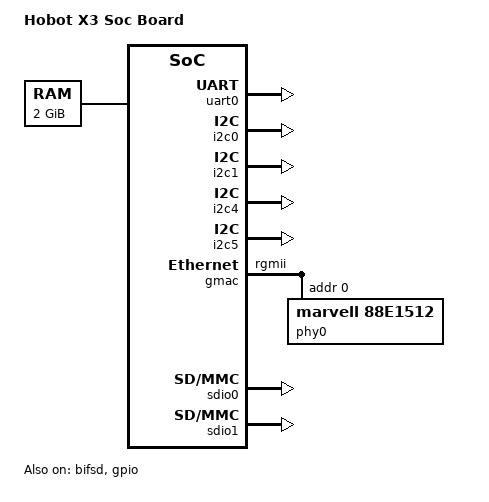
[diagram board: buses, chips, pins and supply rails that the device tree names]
/*
 * dts file for Hobot X3 soc
 *
 * (C) Copyright 2017 - 2018, Hobot, Inc.
 *
 * SPDX-License-Identifier:	GPL-2.0+
 */

/dts-v1/;

#include "hobot-x3.dtsi"

/ {
	model = "Hobot X3 Soc Board";
	compatible = "hobot,x3";

	aliases {
		serial0 = &uart0;
		spi0	= &qspi;
		gmac0 	= &gmac;
		bif	= &bifsd;
		mmc0    = &sdio0;
		mmc1   	= &sdio1;
		mmc2   	= &sdio2;
		i2c0	= &i2c0;
		i2c1	= &i2c1;
		i2c2	= &i2c2;
		i2c3	= &i2c3;
		i2c4	= &i2c4;
		i2c5	= &i2c5;
	};

	chosen {
		bootargs = "";
//		stdout-path = "serial0:921600n8";
	};

	memory@0 {
		device_type = "memory";
		reg = <0x0 0x0 0x0 0x80000000>;
	};

	gpio: gpio@a6003000 {
		compatible = "hobot,x2-gpio-1.0";
		status = "okay";
		#gpio-cells = <0x2>;
		reg = <0x0 0xa6003000 0x0 0x100>;
	};

};

&uart0 {
	status = "okay";
};

&i2c0 {
	status = "okay";
};

&i2c1 {
	status = "okay";
};

&i2c4 {
	status = "okay";
};

&i2c5 {
	status = "okay";
};

&qspi {
	status = "disabled";
	spi-max-frequency = <500000000>;
	#address-cells = <1>;
	#size-cells = <0>;

	flash0: gd25q256c@0 {
		u-boot,dm-pre-reloc;
		compatible = "spi-flash";
		reg = <0x0>;
		spi-tx-bus-width = <4>;
		spi-rx-bus-width = <4>;
		spi-max-frequency = <50000000>;
	};


	spi-nand@0 {
		#address-cells = <1>;
		#size-cells = <1>;
		compatible = "spi-nand";
		reg = <0x0>;
		spi-tx-bus-width = <4>;
		spi-rx-bus-width = <4>;
		spi-max-frequency = <50000000>;
	};

};

&gmac {
        status = "okay";
        #address-cells = <0x1>;
        #size-cells = <0x0>;
        phyaddr = <0xe>; //for dvb
        #phyaddr = <0x0>; //for cvb

	phy-mode = "rgmii";
	phy0: ethernet-phy@0 {
		compatible = "marvell,88E1512","ethernet-phy-ieee802.3-c22";
		reg = <0x0>;
	};
};

&bifsd {
	status = "okay";
};

&sdio0 {
	status = "okay";
};

&sdio1 {
	status = "okay";
};

&sdio2 {
	status = "disabled";
};
